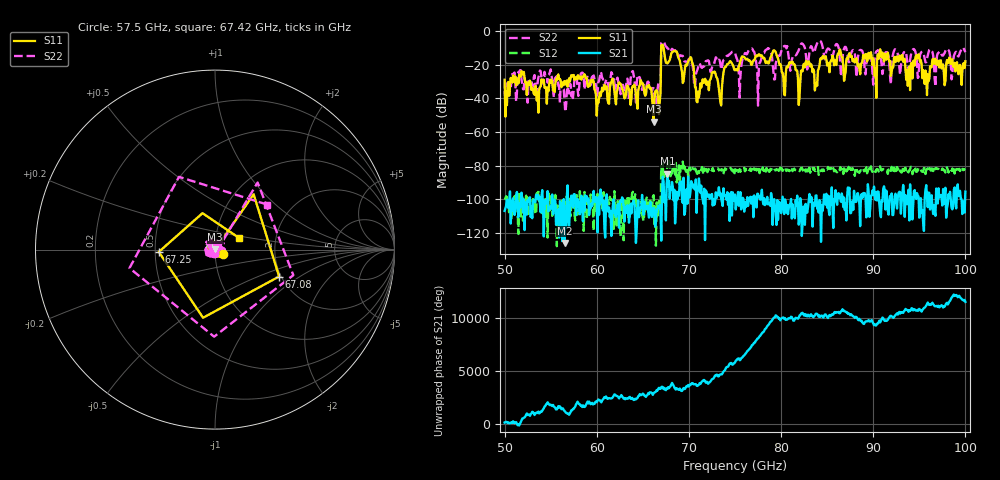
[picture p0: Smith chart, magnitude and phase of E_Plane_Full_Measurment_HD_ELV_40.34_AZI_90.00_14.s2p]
! 11/26/2026 3:21:20 PM
! C:\ANRITSUVNA\TEMP\TEMP.S2P
! CHANNEL.1
! TR.MEASUREMENT
! RAW.DATA
# HZ S RI R 50.0
! FREQ.HZ  S11RE  S11IM  S21RE  S21IM  S12RE  S12IM  S22RE  S22IM
!; PortSelection: Port_12
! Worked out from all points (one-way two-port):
!   601 points, 50 GHz to 100 GHz, reference 50 ohm
!   highest |S21| = -84.88 dB at 67.67 GHz (marker M1); lowest = -126.0 dB at 56.5 GHz (marker M2)
!   lowest |S11| = -53.8 dB at 66.17 GHz (marker M3), VSWR 1.00, Z = 50.1 + j0.148 ohm
!   |S11| at or under -10 dB: start of sweep to 67 GHz; 67.25 GHz to end of sweep
!   |S22| runs from -48.1 to -5.6 dB; largest |S21 - S12| = 0.00014
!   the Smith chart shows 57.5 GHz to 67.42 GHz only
!   S11 on the Smith chart (normalised r, x): 57.5 GHz: 1.09, -0.05; 67.08 GHz: 1.95, -0.69; 67.25 GHz: 0.52, -0.02; 67.42 GHz: 1.29, +0.18
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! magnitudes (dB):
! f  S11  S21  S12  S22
! 50 GHz  -29.0  -107.0  -100.3  -35.8
! 54.83 GHz  -31.7  -105.0  -98.9  -25.9
! 56.5 GHz  -29.7  -126.0  -106.5  -41.7
! 57.5 GHz  -26.2  -97.2  -103.4  -34.7
! 58.42 GHz  -27.2  -99.6  -103.2  -24.7
! 60.17 GHz  -42.8  -98.8  -106.3  -30.4
! 66.17 GHz  -53.8  -105.0  -97.6  -34.0
! 66.67 GHz  -41.5  -104.1  -110.6  -31.7
! 67.08 GHz  -8.2  -96.1  -85.1  -6.8
! 67.25 GHz  -10.1  -89.5  -88.3  -6.2
! 67.42 GHz  -16.6  -97.8  -84.6  -8.3
! 67.67 GHz  -19.2  -84.9  -79.0  -10.2
! 70.25 GHz  -15.9  -89.3  -81.9  -18.8
! 70.92 GHz  -42.4  -94.7  -83.9  -23.1
! 75 GHz  -23.3  -97.3  -82.2  -13.0
! 79.25 GHz  -11.5  -100.0  -82.5  -28.8
! 80.25 GHz  -27.8  -104.1  -81.7  -9.3
! 83.42 GHz  -24.4  -116.3  -81.4  -10.8
! 91.67 GHz  -16.7  -109.2  -82.4  -15.2
! 94.83 GHz  -15.0  -97.9  -82.9  -27.9
! 95.83 GHz  -38.1  -98.3  -82.2  -16.5
! 100 GHz  -18.0  -95.5  -82.6  -12.6
